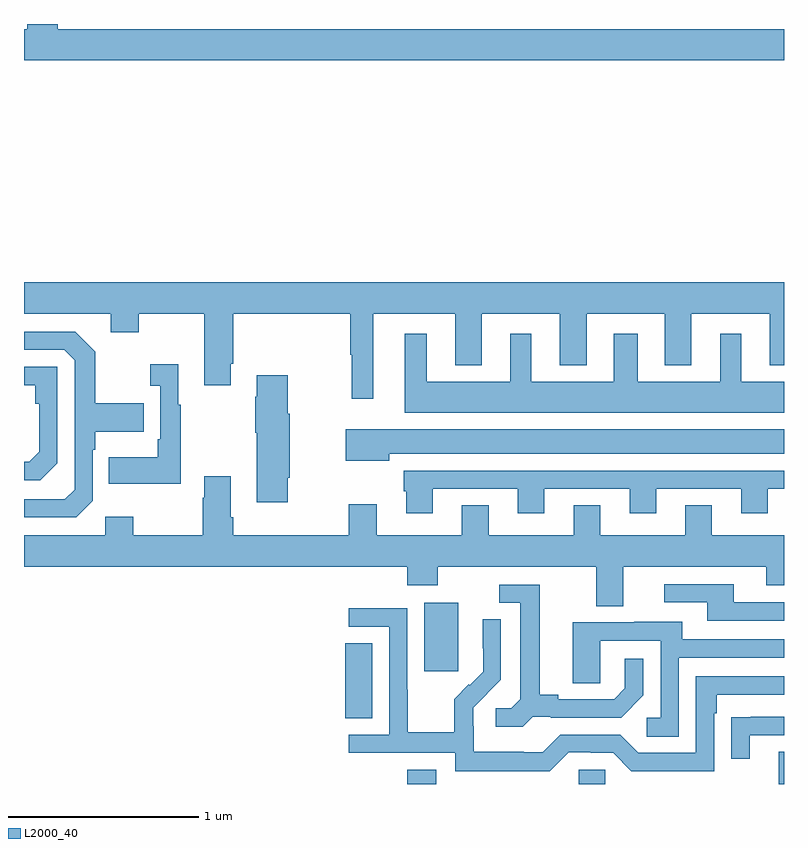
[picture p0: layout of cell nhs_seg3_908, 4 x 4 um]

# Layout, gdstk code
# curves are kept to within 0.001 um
import gdstk
lib = gdstk.Library(unit=1e-6, precision=1e-09)
def R(c, l, rs):  # rectangles x0, y0, x1, y1
    for r in rs: c.add(gdstk.rectangle(r[:2], r[2:], *l))
def P(c, l, *ps):  # polygons
    for p in ps: c.add(gdstk.Polygon(p, *l))
L2000_40 = (2000, 40)

nhs_seg3_908 = lib.new_cell('nhs_seg3_908')
R(nhs_seg3_908, L2000_40, [(159.017,738.4,159.169,738.475), (159.921,738.4,160.059,738.474), (160.973,738.4,161,738.571), (158.69,738.745,158.833,739.142), (159.107,738.993,159.286,739.354)])
P(nhs_seg3_908, L2000_40, [(161,742.372),(157.178,742.372),(157.178,742.4),(157.018,742.4),(157.018,742.372),(157,742.372),(157,742.208),(161,742.208)],
  [(158.839,740.876),(159.269,740.876),(159.269,740.603),(159.409,740.603),(159.409,740.876),(159.821,740.876),(159.821,740.603),(159.961,740.603),(159.961,740.876),(160.373,740.876),(160.373,740.603),(160.513,740.603),(160.513,740.876),(160.925,740.876),(160.925,740.603),(161,740.603),(161,741.04),(157,741.04),(157,740.876),(157.457,740.876),(157.457,740.777),(157.605,740.777),(157.605,740.876),(157.949,740.876),(157.949,740.499),(158.089,740.499),(158.089,740.611),(158.102,740.611),(158.102,740.876),(158.718,740.876),(158.718,740.66),(158.725,740.66),(158.725,740.427),(158.839,740.427)],
  [(157.362,739.89),(157.362,740.159),(157.375,740.159),(157.375,740.255),(157.631,740.255),(157.631,740.403),(157.375,740.403),(157.375,740.675),(157.269,740.781),(157,740.781),(157,740.685),(157.212,740.685),(157.266,740.631),(157.266,739.95),(157.215,739.899),(157,739.899),(157,739.803),(157.275,739.803)],
  [(161,740.518),(160.774,740.518),(160.774,740.77),(160.664,740.77),(160.664,740.518),(160.231,740.518),(160.231,740.77),(160.103,740.77),(160.103,740.518),(159.67,740.518),(159.67,740.77),(159.56,740.77),(159.56,740.518),(159.121,740.518),(159.121,740.77),(159.005,740.77),(159.005,740.354),(161,740.354)],
  [(157.825,740.395),(157.813,740.395),(157.813,740.608),(157.665,740.608),(157.665,740.495),(157.716,740.495),(157.716,740.215),(157.704,740.215),(157.704,740.119),(157.447,740.119),(157.447,739.979),(157.825,739.979)],
  [(157.176,740.088),(157.176,740.595),(157,740.595),(157,740.499),(157.06,740.499),(157.06,740.402),(157.08,740.402),(157.08,740.148),(157.027,740.095),(157,740.095),(157,739.998),(157.086,739.998)],
  [(158.388,740.013),(158.398,740.013),(158.398,740.349),(158.388,740.349),(158.388,740.551),(158.225,740.551),(158.225,740.438),(158.218,740.438),(158.218,740.249),(158.225,740.249),(158.225,739.884),(158.388,739.884)],
  [(158.923,740.138),(161,740.138),(161,740.266),(158.694,740.266),(158.694,740.102),(158.923,740.102)],
  [(159.151,739.953),(159.599,739.953),(159.599,739.824),(159.739,739.824),(159.739,739.953),(160.187,739.953),(160.187,739.824),(160.327,739.824),(160.327,739.953),(160.775,739.953),(160.775,739.824),(160.915,739.824),(160.915,739.953),(161,739.953),(161,740.049),(158.999,740.049),(158.999,739.941),(159.011,739.941),(159.011,739.824),(159.151,739.824)],
  [(160.153,739.544),(160.907,739.544),(160.907,739.445),(161,739.445),(161,739.708),(160.621,739.708),(160.621,739.868),(160.481,739.868),(160.481,739.708),(160.033,739.708),(160.033,739.868),(159.893,739.868),(159.893,739.708),(159.445,739.708),(159.445,739.868),(159.305,739.868),(159.305,739.708),(158.857,739.708),(158.857,739.873),(158.71,739.873),(158.71,739.708),(158.102,739.708),(158.102,739.804),(158.089,739.804),(158.089,740.02),(157.949,740.02),(157.949,739.907),(157.942,739.907),(157.942,739.708),(157.575,739.708),(157.575,739.807),(157.428,739.807),(157.428,739.708),(157,739.708),(157,739.544),(159.017,739.544),(159.017,739.445),(159.177,739.445),(159.177,739.544),(160.013,739.544),(160.013,739.336),(160.153,739.336)],
  [(161,739.356),(160.735,739.356),(160.735,739.452),(160.371,739.452),(160.371,739.356),(160.595,739.356),(160.595,739.26),(161,739.26)],
  [(159.678,738.753),(159.772,738.753),(159.772,738.75),(160.144,738.75),(160.26,738.866),(160.26,739.06),(160.163,739.06),(160.163,738.903),(160.106,738.846),(159.811,738.846),(159.811,738.869),(159.715,738.869),(159.715,739.449),(159.501,739.449),(159.501,739.353),(159.611,739.353),(159.611,738.845),(159.564,738.798),(159.483,738.798),(159.483,738.701),(159.626,738.701)],
  [(159.867,738.567),(159.983,738.567),(159.983,738.564),(160.101,738.564),(160.197,738.468),(160.632,738.468),(160.632,738.773),(160.645,738.773),(160.645,738.87),(161,738.87),(161,738.966),(160.536,738.966),(160.536,738.564),(160.233,738.564),(160.137,738.66),(159.822,738.66),(159.729,738.567),(159.629,738.567),(159.629,738.571),(159.366,738.571),(159.366,738.705),(159.364,738.705),(159.364,738.802),(159.51,738.95),(159.51,739.268),(159.414,739.268),(159.414,739.114),(159.416,739.114),(159.416,738.992),(159.345,738.921),(159.342,738.924),(159.265,738.847),(159.265,738.673),(159.021,738.673),(159.021,738.896),(159.018,738.896),(159.018,739.326),(158.709,739.326),(158.709,739.227),(158.922,739.227),(158.922,738.66),(158.709,738.66),(158.709,738.564),(159.27,738.564),(159.27,738.467),(159.767,738.467)],
  [(160.446,739.065),(161,739.065),(161,739.161),(160.465,739.161),(160.465,739.255),(160.211,739.255),(160.211,739.251),(159.887,739.251),(159.887,738.931),(160.032,738.931),(160.032,739.155),(160.35,739.155),(160.35,738.75),(160.278,738.75),(160.278,738.649),(160.446,738.649)],
  [(160.819,738.657),(161,738.657),(161,738.753),(160.825,738.753),(160.825,738.752),(160.723,738.752),(160.723,738.534),(160.819,738.534)])

lib.write_gds('nhs_seg3_908.gds')
